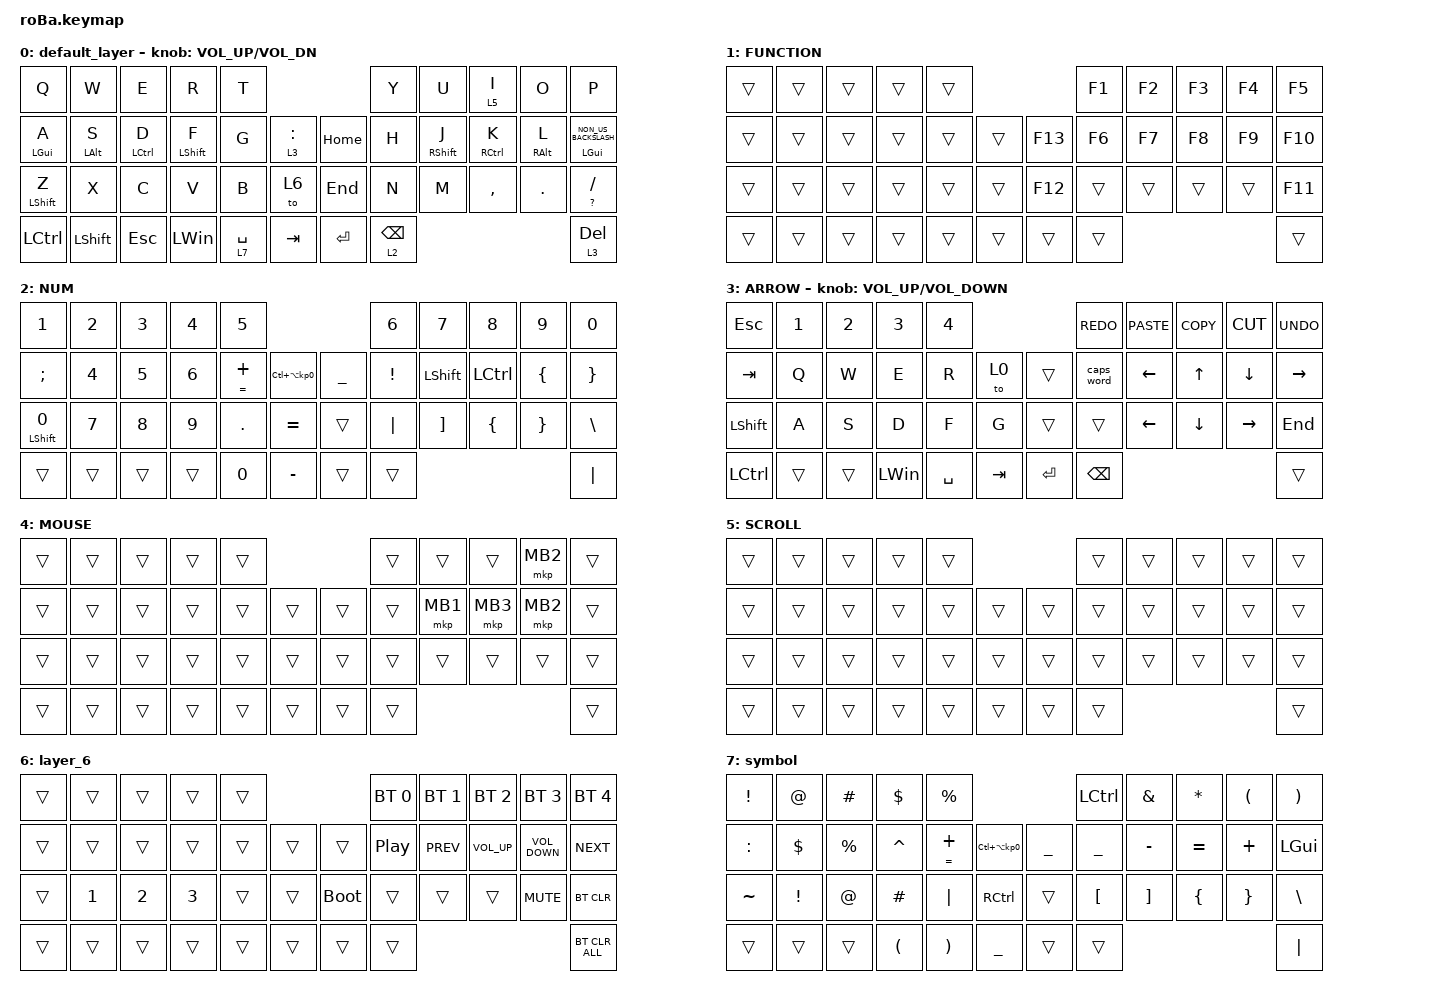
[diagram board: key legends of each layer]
#include <behaviors.dtsi>
#include <dt-bindings/zmk/bt.h>
#include <dt-bindings/zmk/keys.h>
#include <dt-bindings/zmk/pointing.h>

#define MOUSE 4
#define SCROLL 5
#define NUM 6

&mt {
    flavor = "balanced";
    quick-tap-ms = <0>;
};

/ {
    combos {
        compatible = "zmk,combos";

        tab {
            bindings = <&kp TAB>;
            key-positions = <2 3>;
        };

        shift_tab {
            bindings = <&kp LS(TAB)>;
            key-positions = <2 3 4>;
        };

        Toggle_Scroll {
            bindings = <&tog 5>;
            key-positions = <31 32>;
        };

        backspace {
            bindings = <&kp BACKSPACE>;
            key-positions = <17 18>;
        };

        return {
            bindings = <&kp RET>;
            key-positions = <29 30>;
        };

        space {
            bindings = <&kp SPACE>;
            key-positions = <13 14>;
        };
    };

    macros {
        to_layer_0: to_layer_0 {
            compatible = "zmk,behavior-macro-one-param";
            #binding-cells = <1>;
            bindings = <&to 0 &macro_param_1to1 &kp MACRO_PLACEHOLDER>;
            label = "TO_LAYER_0";
        };
    };

    behaviors {
        lt_to_layer_0: lt_to_layer_0 {
            compatible = "zmk,behavior-hold-tap";
            label = "LAYER_TAP_TO_0";
            bindings = <&mo>, <&to_layer_0>;

            #binding-cells = <2>;
            tapping-term-ms = <200>;
        };
    };

    keymap {
        compatible = "zmk,keymap";

        default_layer {
            bindings = <
&kp Q             &kp W           &kp E        &kp R             &kp T                                    &kp Y            &kp U              &lt 5 I      &kp O            &kp P
&mt LEFT_GUI A    &mt LEFT_ALT S  &mt LCTRL D  &mt LEFT_SHIFT F  &kp G        &lt 3 COLON      &kp HOME   &kp H            &mt RIGHT_SHIFT J  &mt RCTRL K  &mt RIGHT_ALT L  &mt LEFT_GUI NON_US_BACKSLASH
&mt LEFT_SHIFT Z  &kp X           &kp C        &kp V             &kp B        &to 6            &kp END    &kp N            &kp M              &kp COMMA    &kp DOT          &mt QUESTION SLASH
&kp LCTRL         &kp LEFT_SHIFT  &kp ESC      &kp LEFT_WIN      &lt 7 SPACE  &kp TAB          &kp ENTER  &lt 2 BACKSPACE                                                   &lt 3 DELETE
            >;

            sensor-bindings = <&inc_dec_kp C_VOL_UP C_VOL_DN>;
        };

        FUNCTION {
            bindings = <
&trans  &trans  &trans  &trans  &trans                       &kp F1  &kp F2  &kp F3  &kp F4  &kp F5
&trans  &trans  &trans  &trans  &trans  &trans      &kp F13  &kp F6  &kp F7  &kp F8  &kp F9  &kp F10
&trans  &trans  &trans  &trans  &trans  &trans      &kp F12  &trans  &trans  &trans  &trans  &kp F11
&trans  &trans  &trans  &trans  &trans  &trans      &trans   &trans                          &trans
            >;
        };

        NUM {
            bindings = <
&kp NUMBER_1       &kp NUMBER_2  &kp NUMBER_3  &kp NUMBER_4  &kp N5                                                       &kp NUMBER_6     &kp N7             &kp N8          &kp N9           &kp NUMBER_0
&kp SEMICOLON      &kp N4        &kp N5        &kp N6        &mt EQUAL PLUS  &kp LC(LA(KP_NUMBER_0))      &kp UNDERSCORE  &kp EXCLAMATION  &kp LSHFT          &kp LCTRL       &kp LEFT_BRACE   &kp RIGHT_BRACE
&mt LEFT_SHIFT N0  &kp N7        &kp N8        &kp N9        &kp PERIOD      &kp EQUAL                    &trans          &kp PIPE         &kp RIGHT_BRACKET  &kp LEFT_BRACE  &kp RIGHT_BRACE  &kp BACKSLASH
&trans             &trans        &trans        &trans        &kp NUMBER_0    &kp MINUS                    &trans          &trans                                                               &kp PIPE
            >;
        };

        ARROW {
            bindings = <
&kp ESCAPE        &kp NUMBER_1  &kp NUMBER_2  &kp NUMBER_3  &kp NUMBER_4                          &kp K_REDO     &kp K_PASTE     &kp K_COPY    &kp K_CUT       &kp K_UNDO
&kp TAB           &kp Q         &kp W         &kp E         &kp R         &to 0        &trans     &caps_word     &kp LEFT_ARROW  &kp UP_ARROW  &kp DOWN_ARROW  &kp RIGHT_ARROW
&kp LEFT_SHIFT    &kp A         &kp S         &kp D         &kp F         &kp G        &trans     &trans         &kp LEFT        &kp DOWN      &kp RIGHT       &kp END
&kp LEFT_CONTROL  &trans        &trans        &kp LEFT_WIN  &kp SPACE     &kp TAB      &kp ENTER  &kp BACKSPACE                                                &trans
            >;

            sensor-bindings = <&inc_dec_kp C_VOLUME_UP C_VOLUME_DOWN>;
        };

        MOUSE {
            bindings = <
&trans  &trans  &trans  &trans  &trans                      &trans  &trans    &trans    &mkp MB2  &trans
&trans  &trans  &trans  &trans  &trans  &trans      &trans  &trans  &mkp MB1  &mkp MB3  &mkp MB2  &trans
&trans  &trans  &trans  &trans  &trans  &trans      &trans  &trans  &trans    &trans    &trans    &trans
&trans  &trans  &trans  &trans  &trans  &trans      &trans  &trans                                &trans
            >;
        };

        SCROLL {
            bindings = <
&trans  &trans  &trans  &trans  &trans                      &trans  &trans  &trans  &trans  &trans
&trans  &trans  &trans  &trans  &trans  &trans      &trans  &trans  &trans  &trans  &trans  &trans
&trans  &trans  &trans  &trans  &trans  &trans      &trans  &trans  &trans  &trans  &trans  &trans
&trans  &trans  &trans  &trans  &trans  &trans      &trans  &trans                          &trans
            >;
        };

        layer_6 {
            bindings = <
&trans  &trans        &trans        &trans        &trans                           &bt BT_SEL 0      &bt BT_SEL 1  &bt BT_SEL 2     &bt BT_SEL 3       &bt BT_SEL 4
&trans  &trans        &trans        &trans        &trans  &trans      &trans       &kp C_PLAY_PAUSE  &kp K_PREV    &kp C_VOLUME_UP  &kp C_VOLUME_DOWN  &kp K_NEXT
&trans  &kp NUMBER_1  &kp NUMBER_2  &kp NUMBER_3  &trans  &trans      &bootloader  &trans            &trans        &trans           &kp C_MUTE         &bt BT_CLR
&trans  &trans        &trans        &trans        &trans  &trans      &trans       &trans                                                              &bt BT_CLR_ALL
            >;
        };

        symbol {
            bindings = <
&kp EXCLAMATION  &kp AT_SIGN      &kp HASH     &kp DOLLAR            &kp PERCENT                                                         &kp LCTRL         &kp AMPERSAND      &kp ASTERISK    &kp LEFT_PARENTHESIS  &kp RIGHT_PARENTHESIS
&kp COLON        &kp DOLLAR       &kp PERCENT  &kp CARET             &mt EQUAL PLUS         &kp LC(LA(KP_NUMBER_0))      &kp UNDERSCORE  &kp UNDERSCORE    &kp MINUS          &kp EQUAL       &kp PLUS              &kp LGUI
&kp TILDE        &kp EXCLAMATION  &kp AT       &kp HASH              &kp PIPE               &kp RCTRL                    &trans          &kp LEFT_BRACKET  &kp RIGHT_BRACKET  &kp LEFT_BRACE  &kp RIGHT_BRACE       &kp BACKSLASH
&trans           &trans           &trans       &kp LEFT_PARENTHESIS  &kp RIGHT_PARENTHESIS  &kp UNDER                    &trans          &trans                                                                     &kp PIPE
            >;
        };
    };
};
